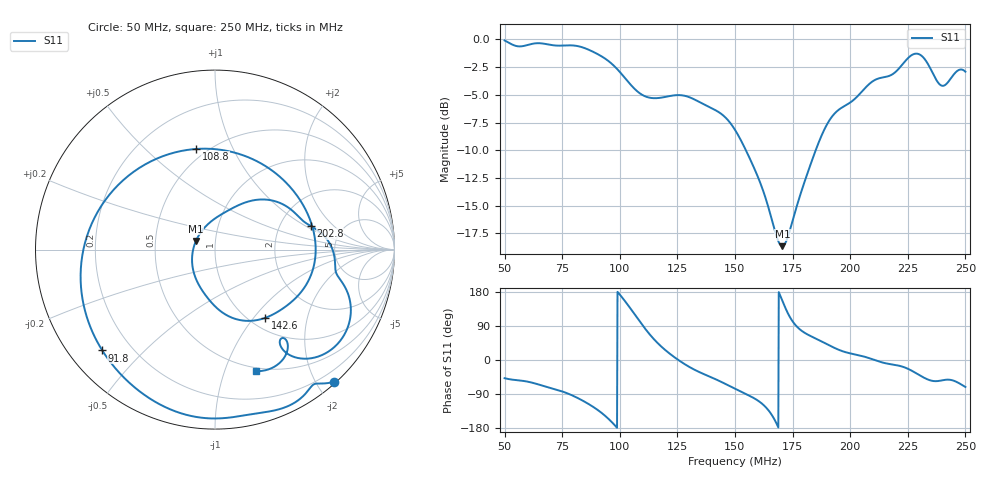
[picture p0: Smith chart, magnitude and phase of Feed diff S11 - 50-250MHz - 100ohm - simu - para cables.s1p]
! TOUCHSTONE file generated by CST MICROWAVE STUDIO
! Date and time: Thu Dec 15 14:06:23 2016
! Project name: PAPER-FEED-NEWREF-1ports-100ohm-LIGHT-cable4-18-2.cst
! Header version: 2015
! Port assignment regex: !\s*Touchstone port\s*([0-9]+)\s*=\s*CST MWS port\s*([0-9]+)\s*\(\"(.*)\"\)(\s*mode\s*([0-9]+))?.*
! Touchstone port assignment:
! Touchstone port 1 = CST MWS port 1 ("")
# MHZ S MA R 100
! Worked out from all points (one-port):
!   1001 points, 50 MHz to 250 MHz, reference 100 ohm
!   lowest |S11| = -18.7 dB at 170.6 MHz (marker M1), VSWR 1.26, Z = 80.4 + j7.81 ohm
!   |S11| at or under -10 dB: 154.7 MHz to 185 MHz (30.31 MHz wide, 17.8 % of centre)
!   S11 on the Smith chart (normalised r, x): 50 MHz: 0.03, -2.24; 91.8 MHz: 0.10, -0.38; 108.8 MHz: 0.44, +0.73; 142.6 MHz: 1.17, -1.15; 202.8 MHz: 2.97, +1.12; 250 MHz: 0.46, -1.29
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50  0.99 -48.0
62.4  0.9577 -60.6
75  0.9384 -83.0
83.8  0.9215 -107.0
91.8  0.8426 -138.2
96.2  0.7818 -161.9
100  0.7136 172.6
104.8  0.6236 134.4
108.8  0.5703 100.5
116.4  0.5438 44.9
125  0.5609 1.8
132.8  0.5335 -26.9
142.6  0.4723 -53.6
150  0.3909 -76.1
163  0.1962 -122.4
170.6  0.1166 155.8
175  0.1519 102.0
188.2  0.3809 47.2
200  0.5192 17.5
202.8  0.5492 13.9
220.6  0.7289 -14.3
225  0.8222 -23.1
228.2  0.8624 -33.3
232  0.8238 -46.6
236.8  0.6735 -55.8
241.4  0.6252 -52.1
245.6  0.7077 -56.2
250  0.7154 -71.2
